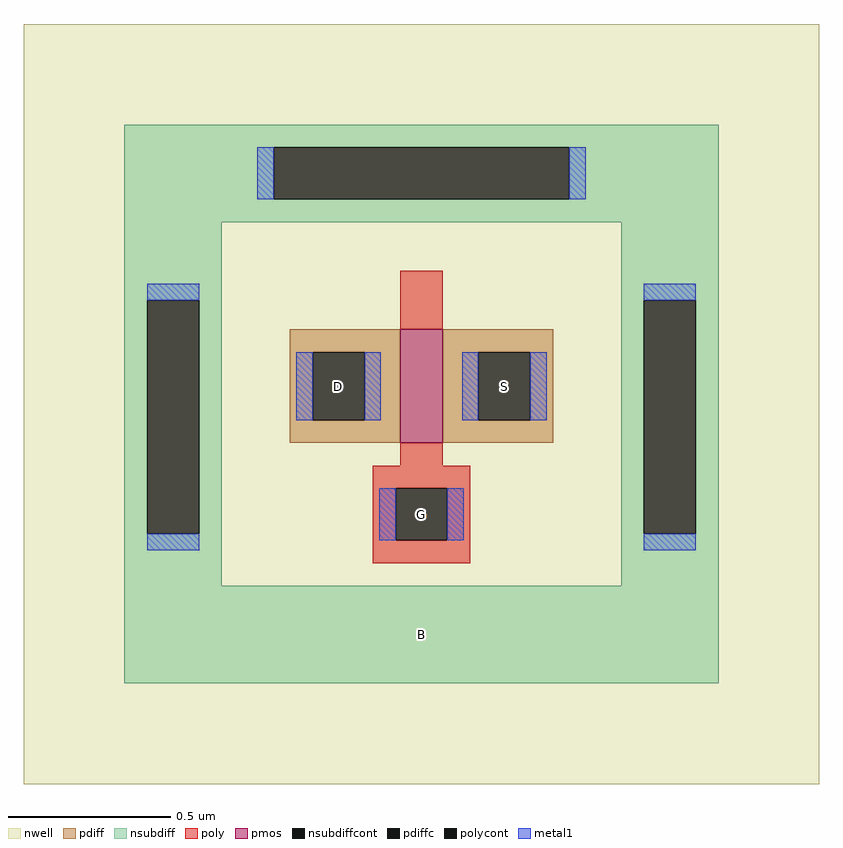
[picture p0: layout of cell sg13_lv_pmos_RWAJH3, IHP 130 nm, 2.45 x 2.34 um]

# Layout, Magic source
magic
tech ihp-sg13cmos5l
magscale 1 2
<< nwell >>
rect -245 -226 245 242
<< pmos >>
rect -13 -16 13 54
<< pdiff >>
rect -81 40 -13 54
rect -81 -2 -67 40
rect -35 -2 -13 40
rect -81 -16 -13 -2
rect 13 40 81 54
rect 13 -2 35 40
rect 67 -2 81 40
rect 13 -16 81 -2
<< pdiffc >>
rect -67 -2 -35 40
rect 35 -2 67 40
<< nsubdiff >>
rect -183 166 183 180
rect -183 134 -91 166
rect 91 134 183 166
rect -183 120 183 134
rect -183 72 -123 120
rect -183 -72 -169 72
rect -137 -72 -123 72
rect 123 72 183 120
rect -183 -104 -123 -72
rect 123 -72 137 72
rect 169 -72 183 72
rect 123 -104 183 -72
rect -183 -164 183 -104
<< nsubdiffcont >>
rect -91 134 91 166
rect -169 -72 -137 72
rect 137 -72 169 72
<< poly >>
rect -13 54 13 90
rect -13 -30 13 -16
rect -30 -44 30 -30
rect -30 -76 -16 -44
rect 16 -76 30 -44
rect -30 -90 30 -76
<< polycont >>
rect -16 -76 16 -44
<< metal1 >>
rect -101 134 -91 166
rect 91 134 101 166
rect -169 72 -137 82
rect 137 72 169 82
rect -77 -2 -67 40
rect -35 -2 -25 40
rect 25 -2 35 40
rect 67 -2 77 40
rect -169 -82 -137 -72
rect -26 -76 -16 -44
rect 16 -76 26 -44
rect 137 -82 169 -72
<< labels >>
rlabel nsubdiff 0 -134 0 -134 0 B
port 1 nsew
rlabel pdiffc -51 19 -51 19 0 D
port 2 nsew
rlabel pdiffc 51 19 51 19 0 S
port 3 nsew
rlabel polycont 0 -60 0 -60 0 G
port 4 nsew
<< properties >>
string FIXED_BBOX -153 -134 153 134
string gencell sg13_lv_pmos
string library sg13cmos5l
string parameters w 0.35 l 0.13 m 1 ng 1 diffcov 100 polycov 100 guard 1 glc 1 grc 1 gtc 1 gbc 0 tbcov 100 rlcov 100 topc 0 botc 1 poverlap 0 doverlap 1 lmin 0.13 wmin 0.15 class mosfet compatible {sg13_lv_pmos sg13_hv_pmos} full_metal 0 conn_gates 0 gate_ring 0 ccols 1 viasrc 0 viadrn 0 viagate 0 viagb 0 viagr 0 viagl 0 viagt 0 doports 1
<< end >>
